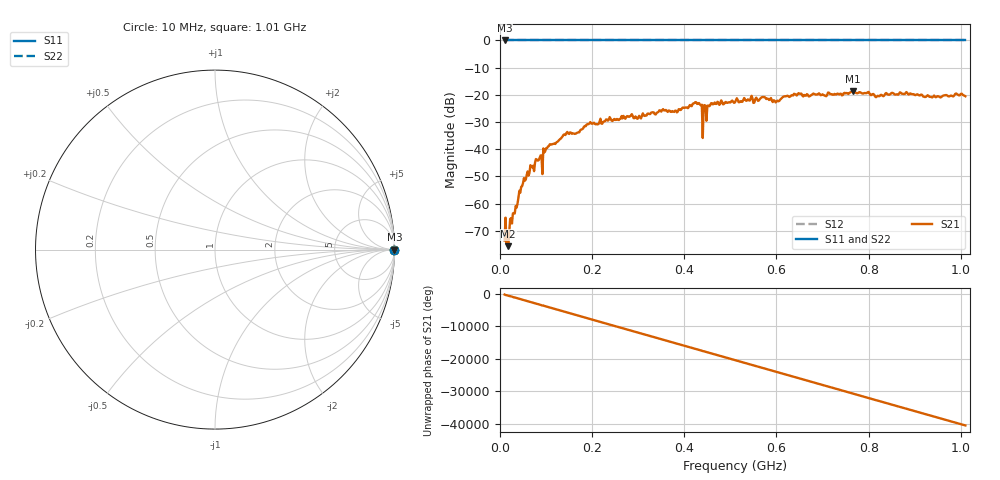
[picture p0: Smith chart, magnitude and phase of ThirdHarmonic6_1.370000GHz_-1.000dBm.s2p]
! 8/16/2025 3:31:10 PM
! C:\ANRITSUVNA\TEMP\TEMP.S2P
! CHANNEL.1
! TR.MEASUREMENT
! RAW.DATA
! RF.CORRECTION.OFF
! AVERAGING.OFF
! IF.BANDWIDTH: 5KHZ
! SWEEPTYPE:  FREQ.SWEEP(Linear)
! Reference Plane Port Info
! PORT:  PORT1  PORT2
! DISTANCE:  0  m  0  m
! TIME:  0  s  0  s
! PHASE.OFFSET:  0  deg.  0  deg.
! LOSS:  0  dB  0  dB
! REF.LOSS:  0  dB  0  dB
! REF.FREQ:  0  Hz  0  Hz
! Power Info
! POWER:  -20  dBm  -20  dBm
! EFF.POWER:  -20  dBm  -20  dBm
! SOURCE.ATTEN:  0  dB  0  dB
! TEST.ATTEN:  0  dB  0  dB
# GHZ S RI R 50.0
! FREQ.GHZ  S11RE  S11IM  S21RE  S21IM  S12RE  S12IM  S22RE  S22IM
!; PortSelection: Port_12
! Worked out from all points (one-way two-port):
!   501 points, 10 MHz to 1.01 GHz, reference 50 ohm
!   highest |S21| = -18.54 dB at 766 MHz (marker M1); lowest = -75.7 dB at 18 MHz (marker M2)
!   lowest |S11| = 0.0 dB at 10 MHz (marker M3)
!   |S11| at or under -10 dB: nowhere
!   |S22| runs from 0.0 to 0.0 dB; largest |S21 - S12| = 1.1
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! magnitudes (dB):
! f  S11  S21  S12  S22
! 10 MHz  0.0  -73.6  0.0  0.0
! 18 MHz  0.0  -75.7  0.0  0.0
! 26 MHz  0.0  -67.3  0.0  0.0
! 46 MHz  0.0  -53.8  0.0  0.0
! 68 MHz  0.0  -46.3  0.0  0.0
! 88 MHz  0.0  -42.3  0.0  0.0
! 108 MHz  0.0  -38.2  0.0  0.0
! 178 MHz  0.0  -32.7  0.0  0.0
! 194 MHz  0.0  -30.5  0.0  0.0
! 344 MHz  0.0  -26.2  0.0  0.0
! 382 MHz  0.0  -25.9  0.0  0.0
! 428 MHz  0.0  -23.4  0.0  0.0
! 444 MHz  0.0  -23.8  0.0  0.0
! 446 MHz  0.0  -24.0  0.0  0.0
! 462 MHz  0.0  -23.5  0.0  0.0
! 510 MHz  0.0  -22.8  0.0  0.0
! 572 MHz  0.0  -20.8  0.0  0.0
! 602 MHz  0.0  -22.1  0.0  0.0
! 678 MHz  0.0  -19.8  0.0  0.0
! 766 MHz  0.0  -18.5  0.0  0.0
! 844 MHz  0.0  -20.0  0.0  0.0
! 1.01 GHz  0.0  -20.5  0.0  0.0
